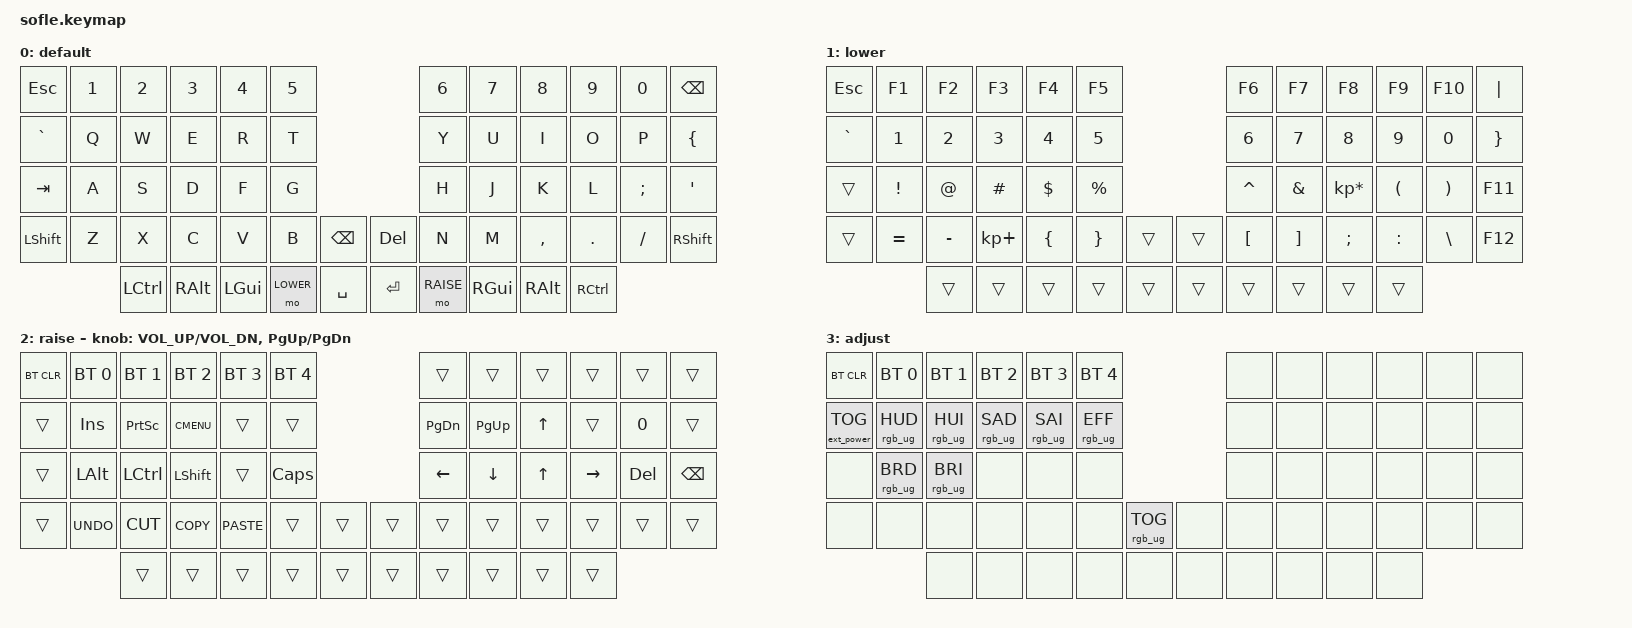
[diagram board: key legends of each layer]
/*
 * Copyright (c) 2020 The ZMK Contributors
 *
 * SPDX-License-Identifier: MIT
 */

#include <behaviors.dtsi>
#include <dt-bindings/zmk/keys.h>
#include <dt-bindings/zmk/bt.h>
#include <dt-bindings/zmk/rgb.h>
#include <dt-bindings/zmk/ext_power.h>

#define BASE 0
#define LOWER 1
#define RAISE 2
#define ADJUST 3

/ {

   // Activate ADJUST layer by pressing raise and lower
    conditional_layers {
        compatible = "zmk,conditional-layers";
        adjust_layer {
            if-layers = <LOWER RAISE>;
            then-layer = <ADJUST>;
        };
    };

    keymap {
        compatible = "zmk,keymap";

        default_layer {
            display-name = "default";
// ------------------------------------------------------------------------------------------------------------
// |  ESC  |  1  |  2  |  3   |  4   |  5   |                   |  6   |  7    |  8    |  9   |   0   | BKSPC |
// |   `   |  Q  |  W  |  E   |  R   |  T   |                   |  Y   |  U    |  I    |  O   |   P   |   {   |
// |  TAB  |  A  |  S  |  D   |  F   |  G   |                   |  H   |  J    |  K    |  L   |   ;   |   '   |
// | SHIFT |  Z  |  X  |  C   |  V   |  B   |  BSPC  |  | DEL   |  N   |  M    |  ,    |  .   |   /   | SHIFT |
//               | CTRL| ALT  | GUI  | LOWER|  SPACE |  | ENTER | RAISE|  GUI  | ALT   | CTRL |
            bindings = <
&kp ESC   &kp N1 &kp N2   &kp N3   &kp N4    &kp N5                           &kp N6 &kp N7    &kp N8    &kp N9   &kp N0   &kp BSPC
&kp GRAVE &kp Q  &kp W    &kp E    &kp R     &kp T                            &kp Y  &kp U     &kp I     &kp O    &kp P    &kp LBRC
&kp TAB   &kp A  &kp S    &kp D    &kp F     &kp G                            &kp H  &kp J     &kp K     &kp L    &kp SEMI &kp SQT
&kp LSHFT &kp Z  &kp X    &kp C    &kp V     &kp B      &kp BSPC   &kp DEL    &kp N  &kp M     &kp COMMA &kp DOT  &kp FSLH &kp RSHFT
                 &kp LCTRL &kp RALT &kp LGUI &mo LOWER  &kp SPACE  &kp RET    &mo RAISE  &kp RGUI &kp RALT  &kp RCTRL
            >;
        };

        lower_layer {
            display-name = "lower";
// TODO: Some binds are waiting for shifted keycode support.
// ------------------------------------------------------------------------------------------------------------
// |  ESC  |  F1 |  F2 |  F3  |  F4  |  F5  |                   |  F6  |  F7   |  F8   |  F9  |  F10  |   |   |
// |   `   |  1  |  2  |  3   |  4   |  5   |                   |  6   |  7    |  8    |  9   |   0   |   }   |
// |       |  !  |  @  |  #   |  $   |  %   |                   |  ^   |  &    |  *    |  (   |   )   |  F11  |
// |       |  =  |  -  |  +   |  {   |  }   |        |  |       |  [   |  ]    |  ;    |  :   |   \   |  F12  |
//               |     |      |      |      |        |  |       |      |       |       |      |
            bindings = <
&kp ESC   &kp F1    &kp F2    &kp F3      &kp F4    &kp F5                    &kp F6    &kp F7   &kp F8          &kp F9    &kp F10   &kp PIPE
&kp GRAVE &kp N1    &kp N2    &kp N3      &kp N4    &kp N5                    &kp N6    &kp N7   &kp N8          &kp N9    &kp N0    &kp RBRC
&trans    &kp EXCL  &kp AT    &kp HASH    &kp DLLR  &kp PRCNT                 &kp CARET &kp AMPS &kp KP_MULTIPLY &kp LPAR  &kp RPAR  &kp F11
&trans    &kp EQUAL &kp MINUS &kp KP_PLUS &kp LBRC  &kp RBRC   &trans &trans  &kp LBKT  &kp RBKT &kp SEMI        &kp COLON &kp BSLH  &kp F12
                    &trans    &trans      &trans    &trans     &trans &trans  &trans    &trans   &trans          &trans
            >;
        };

        raise_layer {
            display-name = "raise";
// ------------------------------------------------------------------------------------------------------------
// | BTCLR | BT1  | BT2  |  BT3  |  BT4  |  BT5 |                |      |      |       |      |       |       |
// |       | INS  | PSCR | GUI   |       |      |                | PGDN | PGUP |       |      |       |       |
// |       | ALT  | CTRL | SHIFT |       | CAPS |                |  <-  |   v  |   ^   |  ->  |  DEL  | BKSPC |
// |       | UNDO | CUT  | COPY  | PASTE |      |      |  |      |      |      |       |      |       |       |
//                |      |       |       |      |      |  |      |      |      |       |      |
            bindings = <
&bt BT_CLR &bt BT_SEL 0 &bt BT_SEL 1 &bt BT_SEL 2 &bt BT_SEL 3 &bt BT_SEL 4                  &trans    &trans    &trans   &trans    &trans  &trans
&trans     &kp INS      &kp PSCRN    &kp K_CMENU  &trans       &trans                        &kp PG_DN &kp PG_UP    &kp UP   &trans    &kp N0  &trans
&trans     &kp LALT     &kp LCTRL    &kp LSHFT    &trans       &kp CLCK                      &kp LEFT &kp DOWN  &kp UP &kp RIGHT &kp DEL &kp BSPC
&trans     &kp K_UNDO   &kp K_CUT    &kp K_COPY   &kp K_PASTE  &trans        &trans  &trans  &trans    &trans    &trans   &trans    &trans  &trans
                        &trans       &trans       &trans       &trans        &trans  &trans  &trans    &trans    &trans   &trans
            >;

            sensor-bindings = <&inc_dec_kp C_VOL_UP C_VOL_DN &inc_dec_kp PG_UP PG_DN>;
        };

        adjust_layer {
// ----------------------------------------------------------------------------------------------------------------------------
// | BTCLR  |  BT1    |  BT2    |   BT3   |   BT4   |   BT5   |                  |      |      |       |      |       |       |
// | EXTPWR | RGB_HUD | RGB_HUI | RGB_SAD | RGB_SAI | RGB_EFF |                  |      |      |       |      |       |       |
// |        | RGB_BRD | RGB_BRI |         |         |         |                  |      |      |       |      |       |       |
// |        |         |         |         |         |         | RGB_TOG | |      |      |      |       |      |       |       |
//                    |         |         |         |         |         | |      |      |      |       |      |
            display-name = "adjust";
            bindings = <
&bt BT_CLR        &bt BT_SEL 0    &bt BT_SEL 1    &bt BT_SEL 2    &bt BT_SEL 3    &bt BT_SEL 4                            &none &none &none &none &none &none
&ext_power EP_TOG &rgb_ug RGB_HUD &rgb_ug RGB_HUI &rgb_ug RGB_SAD &rgb_ug RGB_SAI &rgb_ug RGB_EFF                         &none &none &none &none &none &none
&none             &rgb_ug RGB_BRD &rgb_ug RGB_BRI &none           &none           &none                                   &none &none &none &none &none &none
&none             &none           &none           &none           &none           &none            &rgb_ug RGB_TOG &none  &none &none &none &none &none &none
                                  &none           &none           &none           &none            &none           &none  &none &none &none &none
            >;
        };

    };
};
